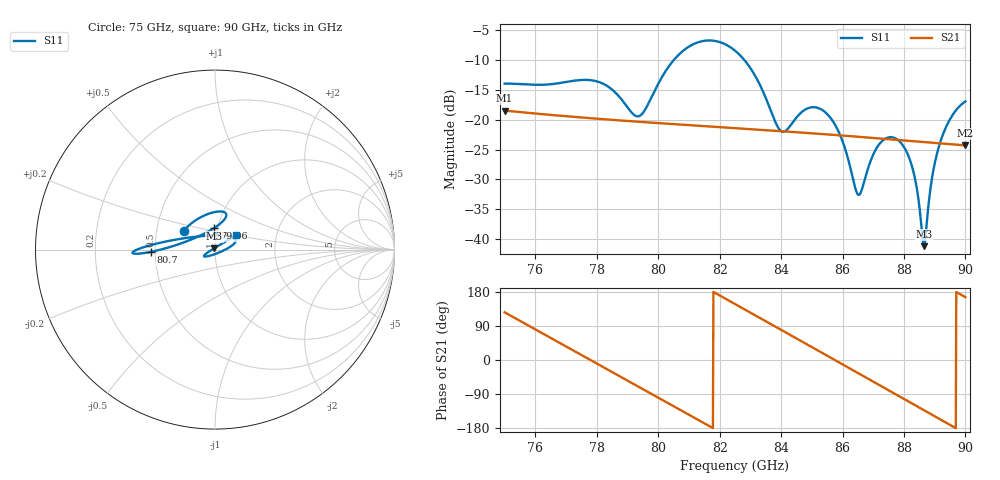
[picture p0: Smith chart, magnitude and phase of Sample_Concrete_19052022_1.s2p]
!SWISSto12 MCK measurement data
!name=Sample_Concrete_19052022_1
!thickness[mm]=18.000
# GHz S RI R 50.0
!freq ReS11 ImS11 ReS21 ImS21 ReS12 ImS12 ReS22 ImS22
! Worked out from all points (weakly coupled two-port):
!   961 points, 75 GHz to 90 GHz, reference 50 ohm
!   highest |S21| = -18.48 dB at 75 GHz (marker M1); lowest = -24.3 dB at 90 GHz (marker M2)
!   lowest |S11| = -41.2 dB at 88.66 GHz (marker M3), VSWR 1.02, Z = 49.6 + j0.763 ohm
!   |S11| at or under -10 dB: start of sweep to 80.51 GHz; 82.8 GHz to end of sweep
!   S12 and S22 are empty: the file has one direction only
!   S11 on the Smith chart (normalised r, x): 75 GHz: 0.70, +0.15; 79.06 GHz: 0.96, +0.24; 80.7 GHz: 0.47, -0.01; 90 GHz: 1.25, +0.20
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75  -0.1701 0.1059  -0.0698 0.0966  0 0  0 0
77.5  0.0338 0.2124  0.1016 0.0241  0 0  0 0
78.32812  0.0611 0.1824  0.0919 -0.0406  0 0  0 0
79.0625  -0.00389 0.1209  0.0531 -0.0815  0 0  0 0
79.45312  -0.0734 0.0824  0.0256 -0.0923  0 0  0 0
80  -0.197 0.0318  -0.0149 -0.0925  0 0  0 0
80.70312  -0.3565 -0.0125  -0.0597 -0.0689  0 0  0 0
81.59375  -0.4594 -0.0192  -0.087 -0.0135  0 0  0 0
82.5  -0.378 0.0195  -0.0719 0.0453  0 0  0 0
83.14062  -0.2304 0.0536  -0.0398 0.0727  0 0  0 0
84  -0.0155 0.0788  0.0144 0.0789  0 0  0 0
85  0.1126 0.0589  0.0637 0.0432  0 0  0 0
85.79688  0.0854 0.016  0.0743 -0.00277  0 0  0 0
86.51562  0.00967 -0.0214  0.059 -0.0412  0 0  0 0
87.0625  -0.0407 -0.0372  0.0353 -0.0606  0 0  0 0
87.5  -0.0601 -0.0381  0.0122 -0.0676  0 0  0 0
88.20312  -0.0421 -0.017  -0.0249 -0.0616  0 0  0 0
88.40625  -0.027 -0.00667  -0.0342 -0.0563  0 0  0 0
88.65625  -0.00416 0.0077  -0.0442 -0.0478  0 0  0 0
88.92188  0.0232 0.0241  -0.0526 -0.037  0 0  0 0
89.15625  0.0482 0.0387  -0.0579 -0.0263  0 0  0 0
90  0.118 0.0796  -0.0591 0.0149  0 0  0 0
